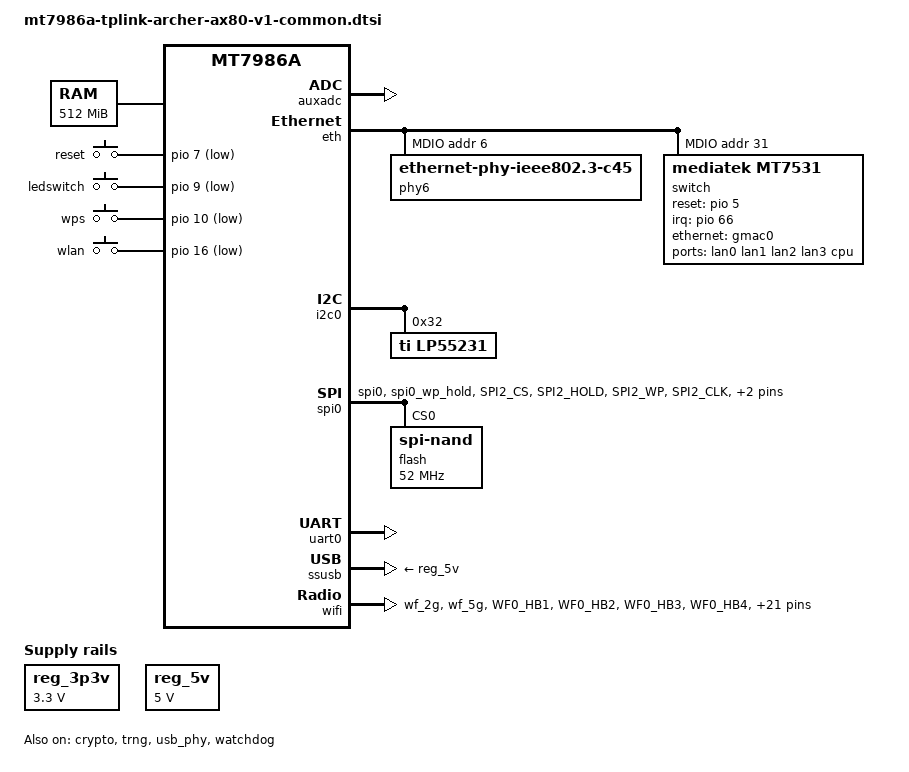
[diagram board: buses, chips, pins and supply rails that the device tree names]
// SPDX-License-Identifier: GPL-2.0-or-later OR MIT

#include <dt-bindings/gpio/gpio.h>
#include <dt-bindings/input/input.h>
#include <dt-bindings/leds/common.h>
#include <dt-bindings/pinctrl/mt65xx.h>

#include "mt7986a.dtsi"

/ {
	aliases: aliases {
		led-boot = &led_b;
		led-failsafe = &led_r;
		led-running = &led_b;
		led-upgrade = &led_g;
		serial0 = &uart0;
	};
	
	chosen: chosen {
		stdout-path = "serial0:115200n8";
	};
	
	memory@40000000 {
		reg = <0 0x40000000 0 0x20000000>;
		device_type = "memory";
	};
	
	keys {
		compatible = "gpio-keys";
		
		button-reset {
			label = "reset";
			linux,code = <KEY_RESTART>;
			gpios = <&pio 7 GPIO_ACTIVE_LOW>;
		};
		
		button-ledswitch {
			label = "ledswitch";
			linux,code = <KEY_LIGHTS_TOGGLE>;
			gpios = <&pio 9 GPIO_ACTIVE_LOW>;
		};
		
		button-wps {
			label = "wps";
			linux,code = <KEY_WPS_BUTTON>;
			gpios = <&pio 10 GPIO_ACTIVE_LOW>;
		};
		
		button-wifi {
			label = "wlan";
			linux,code = <KEY_RFKILL>;
			gpios = <&pio 16 GPIO_ACTIVE_LOW>;
		};
	};
	
	reg_3p3v: regulator-3p3v {
		compatible = "regulator-fixed";
		regulator-name = "fixed-3.3V";
		regulator-min-microvolt = <3300000>;
		regulator-max-microvolt = <3300000>;
		regulator-boot-on;
		regulator-always-on;
	};
	
	reg_5v: regulator-5v {
		compatible = "regulator-fixed";
		regulator-name = "fixed-5V";
		regulator-min-microvolt = <5000000>;
		regulator-max-microvolt = <5000000>;
		regulator-boot-on;
		regulator-always-on;
	};
};

&auxadc {
	status = "okay";
};

&crypto {
	status = "okay";
};

&eth {
	status = "okay";
	
	gmac0: mac@0 {
		compatible = "mediatek,eth-mac";
		reg = <0>;
		phy-mode = "2500base-x";
		fixed-link {
			speed = <2500>;
			full-duplex;
		};
	};
	
	gmac1: mac@1 {
		compatible = "mediatek,eth-mac";
		reg = <1>;
		phy-mode = "2500base-x";
		phy-handle = <&phy6>;
	};
	
	mdio: mdio-bus {
		#address-cells = <1>;
		#size-cells = <0>;
		
		reset-gpios = <&pio 6 GPIO_ACTIVE_LOW>;
		reset-delay-us = <1500000>;
		reset-post-delay-us = <1000000>;
		
		phy6: ethernet-phy@6 {
			compatible = "ethernet-phy-ieee802.3-c45";
			reg = <6>;
		};
		
		switch@1f {
			compatible = "mediatek,mt7531";
			reg = <31>;
			reset-gpios = <&pio 5 GPIO_ACTIVE_HIGH>;
			interrupt-controller;
			#interrupt-cells = <1>;
			interrupt-parent = <&pio>;
			interrupts = <66 IRQ_TYPE_LEVEL_HIGH>;
			
			ports {
				#address-cells = <1>;
				#size-cells = <0>;
				port@0 {
					reg = <0>;
					label = "lan0";
				};
				port@1 {
					reg = <1>;
					label = "lan1";
				};
				port@2 {
					reg = <2>;
					label = "lan2";
				};
				port@3 {
					reg = <3>;
					label = "lan3";
				};
				port@6 {
					reg = <6>;
					label = "cpu";
					ethernet = <&gmac0>;
					phy-mode = "2500base-x";
					fixed-link {
						speed = <2500>;
						full-duplex;
						pause;
					};
				};
			};
		};
	};
};

&i2c0 {
	#address-cells = <1>;
	#size-cells = <0>;
	status = "okay";
	
	lp55231: led-controller@32 {
		#address-cells = <1>;
		#size-cells = <0>;
		compatible = "ti,lp55231";
		reg = <0x32>;
		status = "okay";
		clock-mode = /bits/ 8 <1>;
		
		led_b: led@0 {
			label = "blue";
			led-cur = /bits/ 8 <0x14>;
			max-cur = /bits/ 8 <0x20>;
			reg = <0>;
			color = <LED_COLOR_ID_BLUE>;
		};
		
		led_g: led@3 {
			label = "green";
			led-cur = /bits/ 8 <0x14>;
			max-cur = /bits/ 8 <0x20>;
			reg = <3>;
			color = <LED_COLOR_ID_GREEN>;
		};
		
		led_r: led@6 {
			label = "red";
			led-cur = /bits/ 8 <0x14>;
			max-cur = /bits/ 8 <0x20>;
			reg = <6>;
			color = <LED_COLOR_ID_RED>;
		};
	};
};

&spi0 {
	#address-cells = <1>;
	#size-cells = <0>;
	pinctrl-names = "default";
	pinctrl-0 = <&spi_flash_pins>;
	status = "okay";
	
	flash@0 {
		compatible = "spi-nand";
		reg = <0>;
		
		spi-max-frequency = <52000000>;
		spi-tx-bus-width = <4>;
		spi-rx-bus-width = <4>;
		
		spi-cal-enable;
		spi-cal-mode = "read-data";
		spi-cal-datalen = <7>;
		spi-cal-data = /bits/ 8 <0x53 0x50 0x49 0x4e 0x41 0x4e 0x44>;
		spi-cal-addrlen = <5>;
		spi-cal-addr = /bits/ 32 <0x0 0x0 0x0 0x0 0x0>;
		
		partitions: partitions {
			compatible = "fixed-partitions";
			#address-cells = <1>;
			#size-cells = <1>;
		};
	};
};

&pio {
	spi_flash_pins: spi-flash-pins-33-to-38 {
		mux {
			function = "spi";
			groups = "spi0", "spi0_wp_hold";
		};
		conf-pu {
			pins = "SPI2_CS", "SPI2_HOLD", "SPI2_WP";
			drive-strength = <MTK_DRIVE_8mA>;
			bias-disable;
		};
		conf-pd {
			pins = "SPI2_CLK", "SPI2_MOSI", "SPI2_MISO";
			drive-strength = <MTK_DRIVE_8mA>;
			bias-disable;
		};
	};
	
	wf_2g_5g_pins: wf_2g_5g-pins {
		mux {
			function = "wifi";
			groups = "wf_2g", "wf_5g";
		};
		conf {
			pins = "WF0_HB1", "WF0_HB2", "WF0_HB3", "WF0_HB4",
			"WF0_HB0", "WF0_HB0_B", "WF0_HB5", "WF0_HB6",
			"WF0_HB7", "WF0_HB8", "WF0_HB9", "WF0_HB10",
			"WF0_TOP_CLK", "WF0_TOP_DATA", "WF1_HB1",
			"WF1_HB2", "WF1_HB3", "WF1_HB4", "WF1_HB0",
			"WF1_HB5", "WF1_HB6", "WF1_HB7", "WF1_HB8",
			"WF1_TOP_CLK", "WF1_TOP_DATA";
			drive-strength = <MTK_DRIVE_4mA>;
		};
	};
};

&trng {
	status = "okay";
};

&uart0 {
	status = "okay";
};

&ssusb {
	vusb33-supply = <&reg_3p3v>;
	vbus-supply = <&reg_5v>;
	status = "okay";
};

&usb_phy {
	status = "okay";
};

&watchdog {
	status = "okay";
};

&wifi {
	#address-cells = <1>;
	#size-cells = <0>;
	status = "okay";
	pinctrl-names = "default";
	pinctrl-0 = <&wf_2g_5g_pins>;
};
